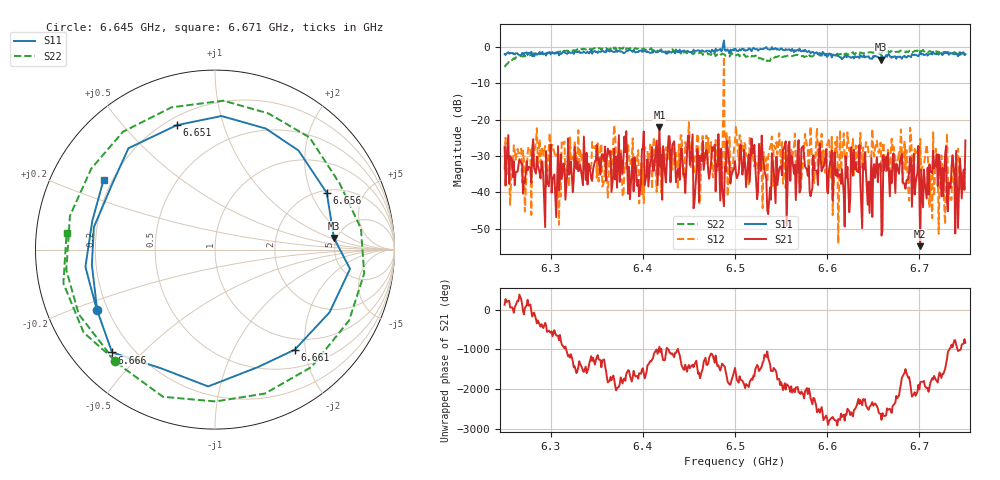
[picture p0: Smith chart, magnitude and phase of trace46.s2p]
# Hz S RI R 50
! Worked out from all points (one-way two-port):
!   401 points, 6.25 GHz to 6.75 GHz, reference 50 ohm
!   highest |S21| = -22.02 dB at 6.418 GHz (marker M1); lowest = -54.7 dB at 6.701 GHz (marker M2)
!   lowest |S11| = -3.5 dB at 6.658 GHz (marker M3), VSWR 4.98, Z = 236 + j54.7 ohm
!   |S11| at or under -10 dB: nowhere
!   |S22| runs from -5.6 to -0.2 dB; largest |S21 - S12| = 0.72
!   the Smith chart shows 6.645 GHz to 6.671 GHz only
!   S11 on the Smith chart (normalised r, x): 6.645 GHz: 0.16, -0.24; 6.651 GHz: 0.24, +0.71; 6.656 GHz: 2.12, +2.61; 6.661 GHz: 0.79, -1.80; 6.666 GHz: 0.12, -0.41; 6.671 GHz: 0.17, +0.28
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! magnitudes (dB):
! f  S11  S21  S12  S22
! 6.25 GHz  -2.0  -27.5  -33.7  -5.6
! 6.304 GHz  -2.0  -35.1  -29.1  -1.5
! 6.309 GHz  -2.4  -39.5  -48.9  -1.4
! 6.334 GHz  -1.6  -36.0  -31.6  -0.6
! 6.418 GHz  -1.2  -22.0  -35.7  -1.1
! 6.5 GHz  -0.5  -31.4  -26.1  -2.5
! 6.528 GHz  -0.6  -34.0  -26.7  -3.2
! 6.536 GHz  -0.7  -46.0  -30.2  -3.8
! 6.552 GHz  -0.9  -28.6  -37.6  -2.8
! 6.584 GHz  -1.4  -38.7  -35.3  -2.7
! 6.645 GHz  -2.6  -37.0  -29.8  -1.6
! 6.651 GHz  -2.8  -32.2  -30.2  -1.6
! 6.656 GHz  -3.1  -32.4  -29.2  -1.8
! 6.658 GHz  -3.5  -32.0  -26.3  -2.1
! 6.661 GHz  -2.9  -29.9  -26.3  -1.5
! 6.666 GHz  -1.8  -29.2  -28.3  -1.2
! 6.668 GHz  -2.6  -41.1  -34.3  -1.6
! 6.671 GHz  -2.7  -30.8  -28.8  -1.6
! 6.701 GHz  -1.4  -54.7  -25.3  -1.2
! 6.716 GHz  -1.9  -33.4  -41.1  -1.2
! 6.74 GHz  -1.8  -28.6  -29.5  -2.0
! 6.75 GHz  -2.1  -25.7  -34.8  -2.4
